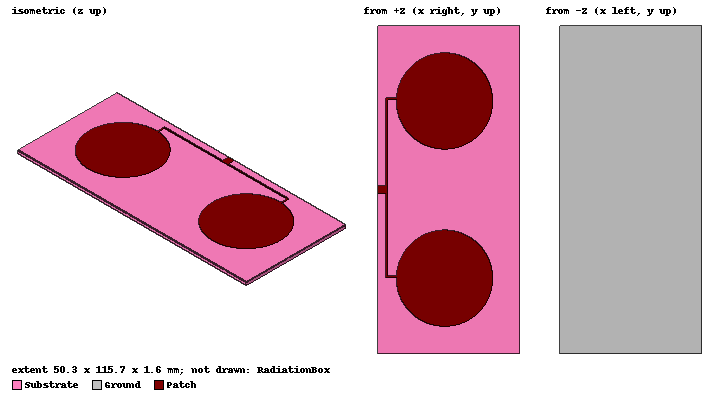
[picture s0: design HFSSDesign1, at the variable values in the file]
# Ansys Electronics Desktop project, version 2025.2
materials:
  vacuum: permittivity=1
  FR4_epoxy: permittivity=4.4 dielectric_loss_tangent=0.02

design HFSSDesign1 (HFSS, HFSS Terminal Network, model units mm)
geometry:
  Patch = circle(normal=Z, centre=(0mm, 0mm, 0mm), radius=17mm)
  Patch1 = circle(normal=Z, centre=(0mm, 62.5mm, 0mm), radius=17mm)
  Rectangle1 = rectangle(corner=(0mm, 0.35mm, 0mm), x_size=-20mm, y_size=0.7mm)
  Rectangle2 = rectangle(corner=(0mm, 62.85mm, 0mm), x_size=-20mm, y_size=0.7mm)
  Rectangle3 = rectangle(corner=(-20mm, 0.35mm, 0mm), x_size=-0.7mm, y_size=63.2mm)
  Rectangle4 = rectangle(corner=(-20.7mm, 29.75mm, 0mm), x_size=-3mm, y_size=3mm)
  Patch.unite(Patch1, Rectangle1..Rectangle4)
  Ground = rectangle(corner=(26.6mm, 89.1mm, -1.6mm), x_size=-50.3mm, y_size=-115.7mm)
  Substrate [FR4_epoxy] = box(corner=(26.6mm, 89.1mm, -1.6mm), size=(-50.3mm, -115.7mm, 1.6mm))
  Source = rectangle(corner=(-23.7mm, 32.75mm, 0mm), y_size=-3mm, z_size=-1.6mm)
  RadiationBox [vacuum] = box(corner=(57.85mm, 120.35mm, 32.85mm), size=(-112.8mm, -178.2mm, -64.1mm))
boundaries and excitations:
  PerfE1: Perfect E Objects=Patch
  PerfE2: Perfect E Objects=Ground
  Rad1: Radiation Objects=RadiationBox
  Patch_T1: Terminal port=1 Edges=Patch.edge(at (-23.7, 31.25, 0)) TerminalResistance=50ohm
  1: Lumped Port Faces=Source.face LumpedPortType=Terminal Impedance=50ohm
  reference conductors: Ground
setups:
  Setup1: HfssDriven Frequency=2.4GHz MaxDeltaS=0.02 MaximumPasses=15 MinimumPasses=1 MinimumConvergedPasses=1 PercentRefinement=30 BasisOrder=1 PortAccuracy=2 DrivenSolverType="Direct Solver"
    sweep Sweep: 1GHz to 5GHz, 401 points; Type=Fast SaveFields
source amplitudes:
  1:1: 1V 0deg
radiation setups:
  Infinite Sphere1: Infinite Sphere Theta=-180deg..180deg step 2deg Phi=-180deg..180deg step 2deg
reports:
  Terminal S Parameter Plot1: dB(St(Patch_T1,Patch_T1)) vs Freq on Setup1 : Sweep
  Terminal VSWR Plot1: VSWRt(Patch_T1) vs Freq on Setup1 : Sweep
  Gain Plot1: dB(GainTotal) vs Phi, Theta on Setup1 : LastAdaptive, Infinite Sphere1 [Freq=2.4GHz]
